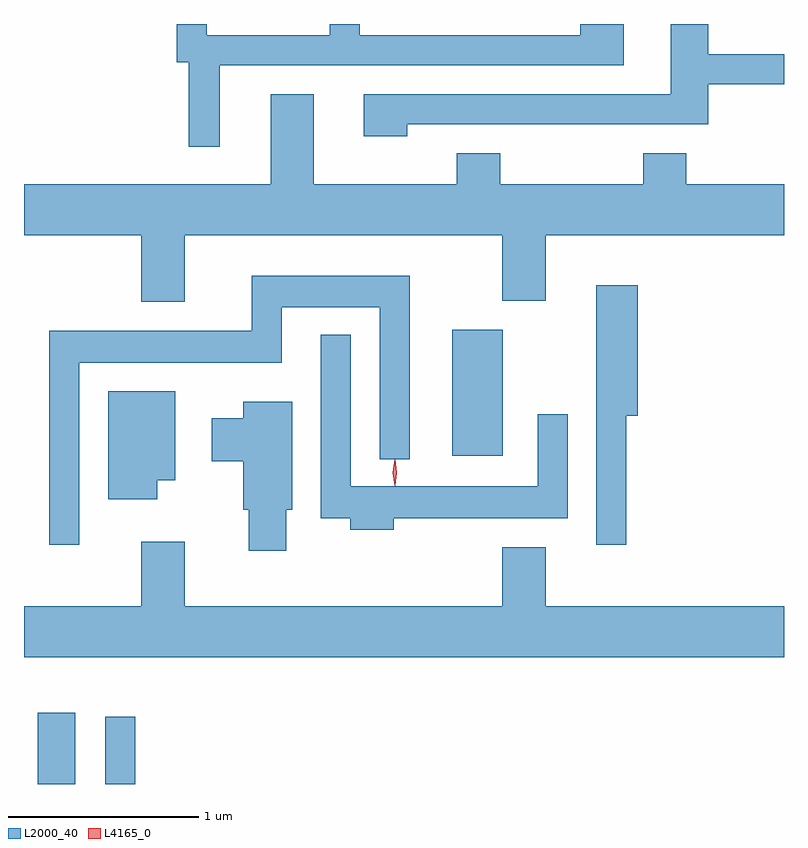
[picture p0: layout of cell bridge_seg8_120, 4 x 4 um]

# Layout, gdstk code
import gdstk
lib = gdstk.Library(unit=1e-6, precision=1e-09)
def R(c, l, rs):  # rectangles x0, y0, x1, y1
    for r in rs: c.add(gdstk.rectangle(r[:2], r[2:], *l))
def P(c, l, *ps):  # polygons
    for p in ps: c.add(gdstk.Polygon(p, *l))
L2000_40 = (2000, 40)
L4165_0 = (4165, 0)

bridge_seg8_120 = lib.new_cell('bridge_seg8_120')
R(bridge_seg8_120, L2000_40, [(1684.566,1840.188,1684.764,1840.564), (1684.921,1840.188,1685.079,1840.543), (1686.746,1841.916,1687.014,1842.579)])
P(bridge_seg8_120, L2000_40, [(1686.509,1843.661),(1688.094,1843.661),(1688.094,1843.871),(1688.493,1843.871),(1688.493,1844.029),(1688.094,1844.029),(1688.094,1844.188),(1687.896,1844.188),(1687.896,1843.819),(1686.281,1843.819),(1686.281,1843.596),(1686.509,1843.596)],
  [(1685.524,1843.971),(1687.649,1843.971),(1687.649,1844.188),(1687.421,1844.188),(1687.421,1844.129),(1686.259,1844.129),(1686.259,1844.188),(1686.101,1844.188),(1686.101,1844.129),(1685.454,1844.129),(1685.454,1844.188),(1685.296,1844.188),(1685.296,1843.986),(1685.361,1843.986),(1685.361,1843.543),(1685.524,1843.543)],
  [(1685.339,1843.076),(1687.011,1843.076),(1687.011,1842.731),(1687.239,1842.731),(1687.239,1843.076),(1688.493,1843.076),(1688.493,1843.344),(1687.979,1843.344),(1687.979,1843.509),(1687.751,1843.509),(1687.751,1843.344),(1686.999,1843.344),(1686.999,1843.509),(1686.771,1843.509),(1686.771,1843.344),(1686.019,1843.344),(1686.019,1843.819),(1685.791,1843.819),(1685.791,1843.344),(1684.493,1843.344),(1684.493,1843.076),(1685.111,1843.076),(1685.111,1842.726),(1685.339,1842.726)],
  [(1684.784,1842.406),(1685.849,1842.406),(1685.849,1842.696),(1686.366,1842.696),(1686.366,1841.898),(1686.524,1841.898),(1686.524,1842.864),(1685.691,1842.864),(1685.691,1842.574),(1684.626,1842.574),(1684.626,1841.448),(1684.784,1841.448)],
  [(1687.664,1842.126),(1687.724,1842.126),(1687.724,1842.814),(1687.506,1842.814),(1687.506,1841.448),(1687.664,1841.448)],
  [(1686.439,1841.586),(1687.354,1841.586),(1687.354,1842.133),(1687.196,1842.133),(1687.196,1841.754),(1686.214,1841.754),(1686.214,1842.553),(1686.056,1842.553),(1686.056,1841.586),(1686.211,1841.586),(1686.211,1841.526),(1686.439,1841.526)],
  [(1685.194,1841.786),(1685.289,1841.786),(1685.289,1842.254),(1684.936,1842.254),(1684.936,1841.686),(1685.194,1841.686)],
  [(1685.874,1841.631),(1685.904,1841.631),(1685.904,1842.199),(1685.646,1842.199),(1685.646,1842.114),(1685.481,1842.114),(1685.481,1841.886),(1685.646,1841.886),(1685.646,1841.631),(1685.676,1841.631),(1685.676,1841.416),(1685.874,1841.416)],
  [(1688.493,1841.124),(1687.239,1841.124),(1687.239,1841.434),(1687.011,1841.434),(1687.011,1841.124),(1685.339,1841.124),(1685.339,1841.464),(1685.111,1841.464),(1685.111,1841.124),(1684.493,1841.124),(1684.493,1840.856),(1688.493,1840.856)])
P(bridge_seg8_120, L4165_0, [(1686.445,1841.757),(1686.445,1841.757),(1686.435,1841.827),(1686.445,1841.896),(1686.445,1841.896),(1686.446,1841.896),(1686.455,1841.827),(1686.446,1841.757)],
  [(1686.444,1841.76),(1686.444,1841.76),(1686.435,1841.826),(1686.444,1841.892),(1686.445,1841.893),(1686.445,1841.892),(1686.454,1841.826),(1686.445,1841.76)])

lib.write_gds('bridge_seg8_120.gds')
